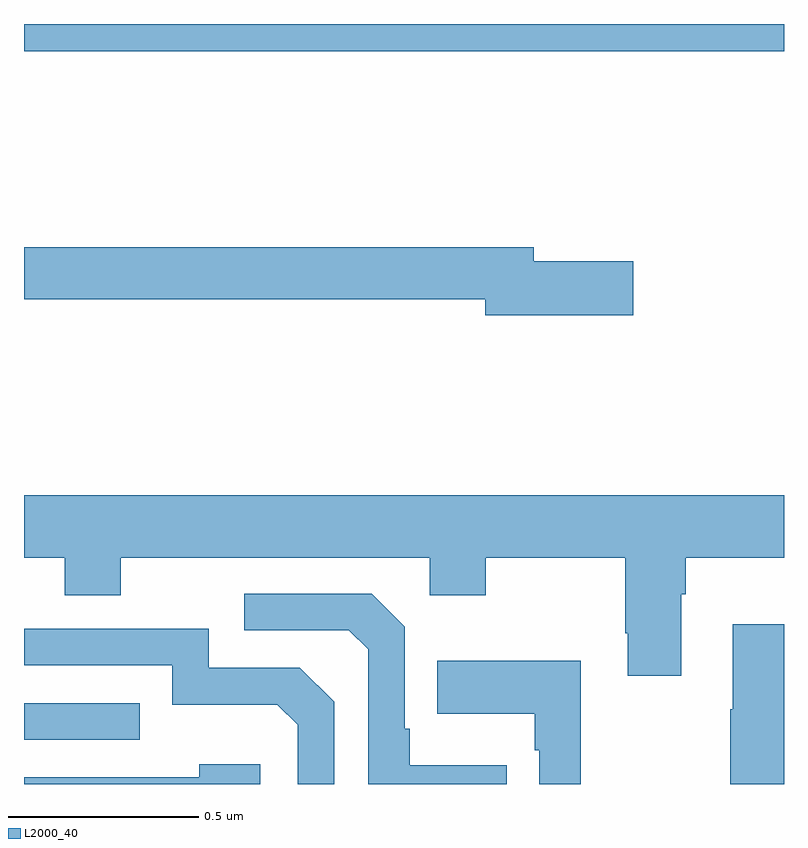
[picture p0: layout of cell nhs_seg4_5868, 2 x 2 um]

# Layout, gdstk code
import gdstk
lib = gdstk.Library(unit=1e-6, precision=1e-09)
def R(c, l, rs):  # rectangles x0, y0, x1, y1
    for r in rs: c.add(gdstk.rectangle(r[:2], r[2:], *l))
def P(c, l, *ps):  # polygons
    for p in ps: c.add(gdstk.Polygon(p, *l))
L2000_40 = (2000, 40)

nhs_seg4_5868 = lib.new_cell('nhs_seg4_5868')
R(nhs_seg4_5868, L2000_40, [(183,787.017,183.305,787.113), (183,788.828,185,788.9)])
P(nhs_seg4_5868, L2000_40, [(184.603,788.276),(184.342,788.276),(184.342,788.312),(183,788.312),(183,788.176),(184.214,788.176),(184.214,788.134),(184.603,788.134)],
  [(184.729,787.4),(184.742,787.4),(184.742,787.496),(185,787.496),(185,787.66),(183,787.66),(183,787.496),(183.107,787.496),(183.107,787.397),(183.255,787.397),(183.255,787.496),(184.068,787.496),(184.068,787.397),(184.215,787.397),(184.215,787.496),(184.582,787.496),(184.582,787.297),(184.589,787.297),(184.589,787.185),(184.729,787.185)],
  [(184.271,786.949),(184.015,786.949),(184.015,787.045),(184.002,787.045),(184.002,787.314),(183.915,787.401),(183.579,787.401),(183.579,787.305),(183.855,787.305),(183.906,787.254),(183.906,786.9),(184.271,786.9)],
  [(185,787.321),(184.865,787.321),(184.865,787.097),(184.858,787.097),(184.858,786.9),(185,786.9)],
  [(183.816,787.116),(183.726,787.206),(183.486,787.206),(183.486,787.308),(183,787.308),(183,787.212),(183.39,787.212),(183.39,787.109),(183.667,787.109),(183.72,787.056),(183.72,786.9),(183.816,786.9)],
  [(184.465,787.225),(184.087,787.225),(184.087,787.085),(184.344,787.085),(184.344,786.989),(184.356,786.989),(184.356,786.9),(184.465,786.9)],
  [(183.622,786.952),(183.461,786.952),(183.461,786.918),(183,786.918),(183,786.9),(183.622,786.9)])

lib.write_gds('nhs_seg4_5868.gds')
